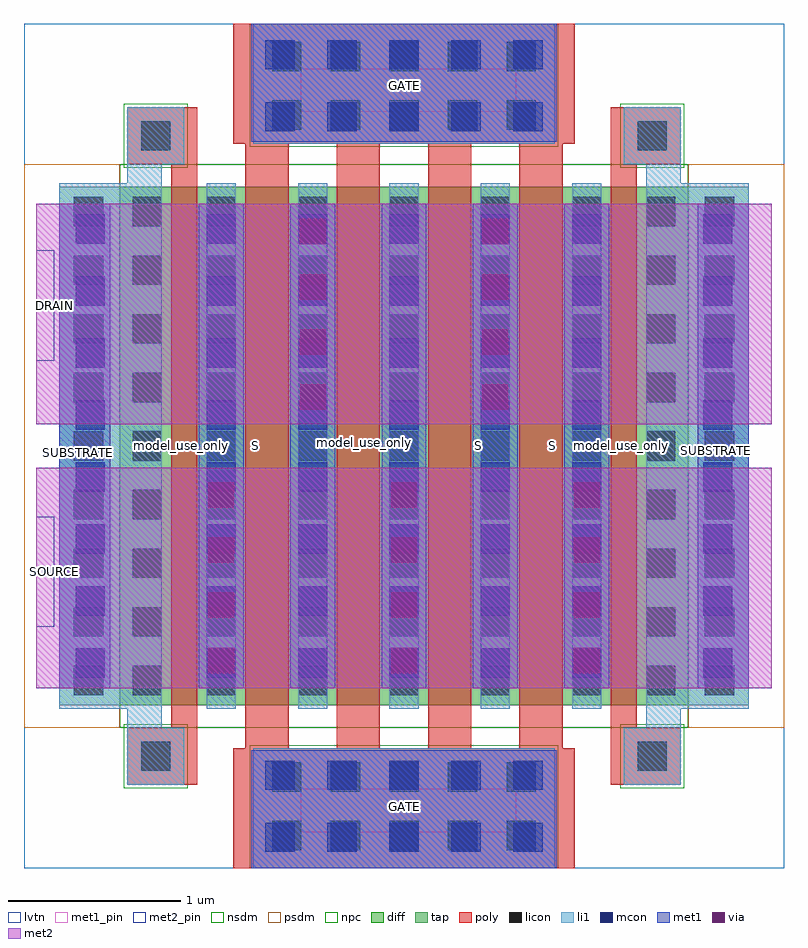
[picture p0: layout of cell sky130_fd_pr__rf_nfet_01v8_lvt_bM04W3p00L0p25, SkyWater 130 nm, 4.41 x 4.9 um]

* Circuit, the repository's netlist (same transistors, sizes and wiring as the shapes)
* Copyright 2020 The SkyWater PDK Authors
*
* Licensed under the Apache License, Version 2.0 (the "License");
* you may not use this file except in compliance with the License.
* You may obtain a copy of the License at
*
*     https://www.apache.org/licenses/LICENSE-2.0
*
* Unless required by applicable law or agreed to in writing, software
* distributed under the License is distributed on an "AS IS" BASIS,
* WITHOUT WARRANTIES OR CONDITIONS OF ANY KIND, either express or implied.
* See the License for the specific language governing permissions and
* limitations under the License.
*
* SPDX-License-Identifier: Apache-2.0


.subckt sky130_fd_pr__rf_nfet_01v8_lvt_bM04W3p00L0p25 DRAIN GATE SOURCE SUBSTRATE
X0 SUBSTRATE SUBSTRATE SOURCE SUBSTRATE sky130_fd_pr__nfet_01v8_lvt w=3.01e+06u l=150000u
X1 SOURCE SUBSTRATE SUBSTRATE SUBSTRATE sky130_fd_pr__nfet_01v8_lvt w=3.01e+06u l=150000u
X2 DRAIN GATE SOURCE SUBSTRATE sky130_fd_pr__nfet_01v8_lvt w=3.01e+06u l=250000u
X3 SOURCE GATE DRAIN SUBSTRATE sky130_fd_pr__nfet_01v8_lvt w=3.01e+06u l=250000u
X4 DRAIN GATE SOURCE SUBSTRATE sky130_fd_pr__nfet_01v8_lvt w=3.01e+06u l=250000u
X5 SOURCE GATE DRAIN SUBSTRATE sky130_fd_pr__nfet_01v8_lvt w=3.01e+06u l=250000u
.ends

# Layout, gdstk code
import gdstk
lib = gdstk.Library(unit=1e-6, precision=1e-09)
def R(c, l, rs):  # rectangles x0, y0, x1, y1
    for r in rs: c.add(gdstk.rectangle(r[:2], r[2:], *l))
def A(c, l, x, y, w, h, nx, ny, dx, dy):  # array of equal rectangles
    R(c, l, [(x+i*dx, y+j*dy, x+i*dx+w, y+j*dy+h) for i in range(nx) for j in range(ny)])
diff = (65, 20)
tap = (65, 44)
poly = (66, 20)
licon = (66, 44)
li1 = (67, 20)
mcon = (67, 44)
met1_pin = (68, 16)
met1 = (68, 20)
via = (68, 44)
met2_pin = (69, 16)
met2 = (69, 20)
nsdm = (93, 44)
psdm = (94, 20)
npc = (95, 20)
lvtn = (125, 44)

sky130_fd_pr__rf_nfet_01 = lib.new_cell('sky130_fd_pr__rf_nfet_01v8_lvt_bM04W3p00L0p25')
R(sky130_fd_pr__rf_nfet_01, diff, [(0.555,0.945,3.855,3.955)])
R(sky130_fd_pr__rf_nfet_01, tap, [(0.205,0.945,0.555,3.955), (3.855,0.945,4.205,3.955)])
A(sky130_fd_pr__rf_nfet_01, poly, 1.285, 0.695, 0.25, 3.51, 4, 1, 0.53, 0)
R(sky130_fd_pr__rf_nfet_01, poly, [(1.215,0,3.195,0.695), (0.6,0.485,0.93,0.815), (0.855,0.485,1.005,4.415), (3.405,0.485,3.555,4.415), (3.48,0.485,3.81,0.815), (0.6,4.085,0.93,4.415), (3.48,4.085,3.81,4.415), (1.215,4.205,3.195,4.9)])
A(sky130_fd_pr__rf_nfet_01, licon, 1.44, 0.105, 0.17, 0.17, 5, 2, 0.34, 0.34)
A(sky130_fd_pr__rf_nfet_01, licon, 0.29, 1.005, 0.17, 0.17, 1, 9, 0, 0.34)
A(sky130_fd_pr__rf_nfet_01, licon, 0.63, 1.005, 0.17, 0.17, 1, 9, 0, 0.34)
A(sky130_fd_pr__rf_nfet_01, licon, 1.06, 1.005, 0.17, 0.17, 5, 9, 0.53, 0.34)
A(sky130_fd_pr__rf_nfet_01, licon, 3.61, 1.005, 0.17, 0.17, 1, 9, 0, 0.34)
A(sky130_fd_pr__rf_nfet_01, licon, 3.95, 1.005, 0.17, 0.17, 1, 9, 0, 0.34)
A(sky130_fd_pr__rf_nfet_01, licon, 1.44, 4.285, 0.17, 0.17, 5, 2, 0.34, 0.34)
R(sky130_fd_pr__rf_nfet_01, licon, [(0.68,0.565,0.85,0.735), (3.56,0.565,3.73,0.735), (0.68,4.165,0.85,4.335), (3.56,4.165,3.73,4.335)])
A(sky130_fd_pr__rf_nfet_01, li1, 1.06, 0.925, 0.17, 3.05, 5, 1, 0.53, 0)
A(sky130_fd_pr__rf_nfet_01, li1, 1.06, 1.105, 0.17, 2.69, 5, 1, 0.53, 0)
R(sky130_fd_pr__rf_nfet_01, li1, [(1.33,0,3.08,0.695), (0.6,0.485,0.93,0.815), (3.48,0.485,3.81,0.815), (0.6,0.815,0.8,0.925), (3.61,0.815,3.81,0.925), (0.205,0.925,0.8,3.975), (3.61,0.925,4.205,3.975), (0.6,3.975,0.8,4.085), (3.61,3.975,3.81,4.085), (0.6,4.085,0.93,4.415), (3.48,4.085,3.81,4.415), (1.33,4.205,3.08,4.9)])
A(sky130_fd_pr__rf_nfet_01, mcon, 1.4, 0.095, 0.17, 0.17, 5, 2, 0.36, 0.36)
A(sky130_fd_pr__rf_nfet_01, mcon, 0.3, 1.105, 0.17, 0.17, 1, 8, 0, 0.36)
A(sky130_fd_pr__rf_nfet_01, mcon, 1.06, 1.105, 0.17, 0.17, 5, 8, 0.53, 0.36)
A(sky130_fd_pr__rf_nfet_01, mcon, 3.94, 1.105, 0.17, 0.17, 1, 8, 0, 0.36)
A(sky130_fd_pr__rf_nfet_01, mcon, 1.4, 4.275, 0.17, 0.17, 5, 2, 0.36, 0.36)
R(sky130_fd_pr__rf_nfet_01, met1_pin, [(1.605,0.21,2.855,0.46), (0.205,2.33,0.5,2.48), (3.91,2.345,4.205,2.495), (1.605,4.39,2.855,4.64)])
A(sky130_fd_pr__rf_nfet_01, met1, 1.015, 1.045, 0.26, 2.81, 5, 1, 0.53, 0)
A(sky130_fd_pr__rf_nfet_01, met1, 1.015, 1.045, 0.26, 1.28, 3, 1, 1.06, 0)
R(sky130_fd_pr__rf_nfet_01, met1, [(1.32,0,3.09,0.685), (0.205,1.045,0.5,3.855), (3.91,1.045,4.205,3.855), (1.545,2.575,1.805,3.855), (2.605,2.575,2.865,3.855), (1.32,4.215,3.09,4.9)])
A(sky130_fd_pr__rf_nfet_01, via, 1.07, 1.13, 0.15, 0.15, 3, 4, 1.06, 0.32)
A(sky130_fd_pr__rf_nfet_01, via, 1.6, 2.66, 0.15, 0.15, 1, 4, 0, 0.32)
A(sky130_fd_pr__rf_nfet_01, via, 2.66, 2.66, 0.15, 0.15, 1, 4, 0, 0.32)
R(sky130_fd_pr__rf_nfet_01, met2_pin, [(0.07,1.4,0.175,2.04), (0.07,2.945,0.175,3.585)])
A(sky130_fd_pr__rf_nfet_01, met2, 1.015, 1.045, 0.26, 1.28, 3, 1, 1.06, 0)
R(sky130_fd_pr__rf_nfet_01, met2, [(0.07,1.045,4.34,2.325), (0.07,2.575,4.34,3.855), (1.545,2.575,1.805,3.855), (2.605,2.575,2.865,3.855)])
R(sky130_fd_pr__rf_nfet_01, nsdm, [(0.555,0.815,3.855,4.085)])
R(sky130_fd_pr__rf_nfet_01, psdm, [(0,0.815,0.555,4.085), (3.855,0.815,4.41,4.085)])
R(sky130_fd_pr__rf_nfet_01, npc, [(1.31,0,3.1,0.715), (0.58,0.465,0.95,0.835), (3.46,0.465,3.83,0.835), (0.58,4.065,0.95,4.435), (3.46,4.065,3.83,4.435), (1.31,4.185,3.1,4.9)])
R(sky130_fd_pr__rf_nfet_01, lvtn, [(0,0,4.41,4.9)])
sky130_fd_pr__rf_nfet_01.add(gdstk.Label('GATE', (2.205,0.36), layer=68, texttype=5))
sky130_fd_pr__rf_nfet_01.add(gdstk.Label('GATE', (2.205,4.54), layer=68, texttype=5))
sky130_fd_pr__rf_nfet_01.add(gdstk.Label('model_use_only', (3.465,2.45), layer=66, texttype=83))
sky130_fd_pr__rf_nfet_01.add(gdstk.Label('model_use_only', (0.915,2.45), layer=66, texttype=83))
sky130_fd_pr__rf_nfet_01.add(gdstk.Label('model_use_only', (1.975,2.47), layer=66, texttype=83))
sky130_fd_pr__rf_nfet_01.add(gdstk.Label('model_use_only', (2.4,2.49), layer=66, texttype=83))
sky130_fd_pr__rf_nfet_01.add(gdstk.Label('model_use_only', (2.96,2.505), layer=66, texttype=83))
sky130_fd_pr__rf_nfet_01.add(gdstk.Label('model_use_only', (1.43,2.47), layer=66, texttype=83))
sky130_fd_pr__rf_nfet_01.add(gdstk.Label('SUBSTRATE', (0.315,2.41), layer=68, texttype=16))
sky130_fd_pr__rf_nfet_01.add(gdstk.Label('SUBSTRATE', (4.02,2.425), layer=68, texttype=16))
sky130_fd_pr__rf_nfet_01.add(gdstk.Label('dummy_poly', (3.465,2.51), layer=83, texttype=44))
sky130_fd_pr__rf_nfet_01.add(gdstk.Label('dummy_poly', (0.91,2.51), layer=83, texttype=44))
sky130_fd_pr__rf_nfet_01.add(gdstk.Label('S', (1.345,2.45), layer=83, texttype=44))
sky130_fd_pr__rf_nfet_01.add(gdstk.Label('S', (1.775,2.45), layer=83, texttype=44))
sky130_fd_pr__rf_nfet_01.add(gdstk.Label('S', (2.205,2.45), layer=83, texttype=44))
sky130_fd_pr__rf_nfet_01.add(gdstk.Label('S', (2.635,2.45), layer=83, texttype=44))
sky130_fd_pr__rf_nfet_01.add(gdstk.Label('S', (1.345,2.45), layer=83, texttype=44))
sky130_fd_pr__rf_nfet_01.add(gdstk.Label('D', (1.775,2.45), layer=83, texttype=44))
sky130_fd_pr__rf_nfet_01.add(gdstk.Label('S', (2.205,2.45), layer=83, texttype=44))
sky130_fd_pr__rf_nfet_01.add(gdstk.Label('D', (2.635,2.45), layer=83, texttype=44))
sky130_fd_pr__rf_nfet_01.add(gdstk.Label('S', (3.065,2.45), layer=83, texttype=44))
sky130_fd_pr__rf_nfet_01.add(gdstk.Label('SOURCE', (0.175,1.72), layer=69, texttype=5))
sky130_fd_pr__rf_nfet_01.add(gdstk.Label('DRAIN', (0.175,3.265), layer=69, texttype=5))

lib.write_gds('sky130_fd_pr__rf_nfet_01v8_lvt_bM04W3p00L0p25.gds')
